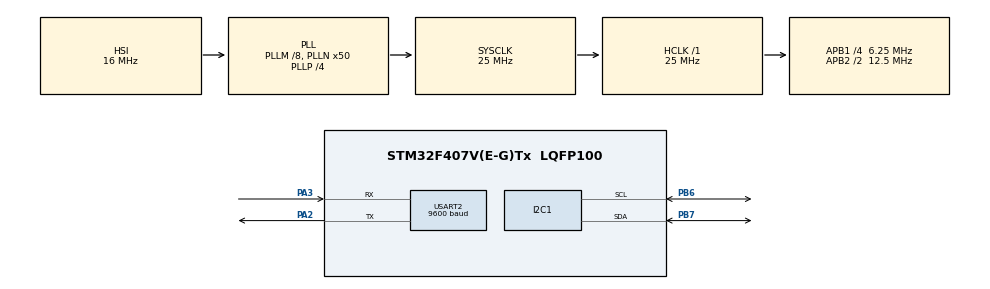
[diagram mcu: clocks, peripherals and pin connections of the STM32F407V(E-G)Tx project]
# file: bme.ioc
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Mcu.Family=STM32F4
Mcu.Name=STM32F407V(E-G)Tx
Mcu.Package=LQFP100
NVIC.PriorityGroup=NVIC_PRIORITYGROUP_0
PA2.Mode=Asynchronous
PA2.Signal=USART2_TX
PA3.Mode=Asynchronous
PA3.Signal=USART2_RX
PB6.Mode=I2C
PB6.Signal=I2C1_SCL
PB7.Mode=I2C
PB7.Signal=I2C1_SDA
ProjectManager.HeapSize=0x200
ProjectManager.StackSize=0x400
ProjectManager.TargetToolchain=STM32CubeIDE
RCC.48MHZClocksFreq_Value=14285714.285714285
RCC.AHBFreq_Value=25000000
RCC.APB1CLKDivider=RCC_HCLK_DIV4
RCC.APB1Freq_Value=6250000
RCC.APB1TimFreq_Value=12500000
RCC.APB2CLKDivider=RCC_HCLK_DIV2
RCC.APB2Freq_Value=12500000
RCC.APB2TimFreq_Value=25000000
RCC.CortexFreq_Value=25000000
RCC.HCLKFreq_Value=25000000
RCC.HSE_VALUE=8000000
RCC.HSI_VALUE=16000000
RCC.LSE_VALUE=32768
RCC.PLLM=8
RCC.PLLN=50
RCC.PLLP=RCC_PLLP_DIV4
RCC.PLLQ=7
RCC.SYSCLKFreq_VALUE=25000000
RCC.SYSCLKSource=RCC_SYSCLKSOURCE_PLLCLK
RCC.VCOOutputFreq_Value=100000000
USART2.BaudRate=9600
USART2.VirtualMode=VM_ASYNC
board=STM32F407G-DISC1

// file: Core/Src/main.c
/* USER CODE BEGIN Header */
/**
  ******************************************************************************
  * @file           : main.c
  * @brief          : Main program body
  ******************************************************************************
  * @attention
  *
  * Copyright (c) 2024 STMicroelectronics.
  * All rights reserved.
  *
  * This software is licensed under terms that can be found in the LICENSE file
  * in the root directory of this software component.
  * If no LICENSE file comes with this software, it is provided AS-IS.
  *
  ******************************************************************************
  */
/* USER CODE END Header */
#include "main.h"
#include<stdio.h>
#include<string.h>

#include "stm32f4xx_hal.h"
#include <stdint.h>
#include <stdbool.h>

/**
 * BMP280 or BME280 address is 0x77 if SDO pin is high, and is 0x76 if
 * SDO pin is low.
 */
#define BMP280_REG_TEMP_XLSB   0xFC /* bits: 7-4 */
#define BMP280_REG_TEMP_LSB    0xFB
#define BMP280_REG_TEMP_MSB    0xFA
#define BMP280_REG_TEMP        (BMP280_REG_TEMP_MSB)
#define BMP280_REG_PRESS_XLSB  0xF9 /* bits: 7-4 */
#define BMP280_REG_PRESS_LSB   0xF8
#define BMP280_REG_PRESS_MSB   0xF7
#define BMP280_REG_PRESSURE    (BMP280_REG_PRESS_MSB)
#define BMP280_REG_CONFIG      0xF5 /* bits: 7-5 t_sb; 4-2 filter; 0 spi3w_en */
#define BMP280_REG_CTRL        0xF4 /* bits: 7-5 osrs_t; 4-2 osrs_p; 1-0 mode */
#define BMP280_REG_STATUS      0xF3 /* bits: 3 measuring; 0 im_update */
#define BMP280_REG_CTRL_HUM    0xF2 /* bits: 2-0 osrs_h; */
#define BMP280_REG_RESET       0xE0
#define BMP280_REG_ID          0xD0
#define BMP280_REG_CALIB       0x88
#define BMP280_REG_HUM_CALIB   0x88

#define BMP280_RESET_VALUE     0xB6
#define BMP280_I2C_ADDRESS_0  0x76
#define BMP280_I2C_ADDRESS_1  0x77

#define BMP280_CHIP_ID  0x58 /* BMP280 has chip-id 0x58 */
#define BME280_CHIP_ID  0x60 /* BME280 has chip-id 0x60 */

/**
 * Mode of BMP280 module operation.
 * Forced - Measurement is initiated by user.
 * Normal - Continues measurement.
 */
I2C_HandleTypeDef hi2c1;

UART_HandleTypeDef huart2;
typedef enum {
    BMP280_MODE_SLEEP = 0,
    BMP280_MODE_FORCED = 1,
    BMP280_MODE_NORMAL = 3
} BMP280_Mode;

typedef enum {
    BMP280_FILTER_OFF = 0,
    BMP280_FILTER_2 = 1,
    BMP280_FILTER_4 = 2,
    BMP280_FILTER_8 = 3,
    BMP280_FILTER_16 = 4
} BMP280_Filter;

/**
 * Pressure oversampling settings
 */
typedef enum {
    BMP280_SKIPPED = 0,          /* no measurement  */
    BMP280_ULTRA_LOW_POWER = 1,  /* oversampling x1 */
    BMP280_LOW_POWER = 2,        /* oversampling x2 */
    BMP280_STANDARD = 3,         /* oversampling x4 */
    BMP280_HIGH_RES = 4,         /* oversampling x8 */
    BMP280_ULTRA_HIGH_RES = 5    /* oversampling x16 */
} BMP280_Oversampling;

/**
 * Stand by time between measurements in normal mode
 */
typedef enum {
    BMP280_STANDBY_05 = 0,      /* stand by time 0.5ms */
    BMP280_STANDBY_62 = 1,      /* stand by time 62.5ms */
    BMP280_STANDBY_125 = 2,     /* stand by time 125ms */
    BMP280_STANDBY_250 = 3,     /* stand by time 250ms */
    BMP280_STANDBY_500 = 4,     /* stand by time 500ms */
    BMP280_STANDBY_1000 = 5,    /* stand by time 1s */
    BMP280_STANDBY_2000 = 6,    /* stand by time 2s BMP280, 10ms BME280 */
    BMP280_STANDBY_4000 = 7,    /* stand by time 4s BMP280, 20ms BME280 */
} BMP280_StandbyTime;

/**
 * Configuration parameters for BMP280 module.
 * Use function bmp280_init_default_params to use default configuration.
 */
typedef struct {
    BMP280_Mode mode;
    BMP280_Filter filter;
    BMP280_Oversampling oversampling_pressure;
    BMP280_Oversampling oversampling_temperature;
    BMP280_Oversampling oversampling_humidity;
    BMP280_StandbyTime standby;
} bmp280_params_t;

typedef struct {
    uint16_t dig_T1;
    int16_t  dig_T2;
    int16_t  dig_T3;
    uint16_t dig_P1;
    int16_t  dig_P2;
    int16_t  dig_P3;
    int16_t  dig_P4;
    int16_t  dig_P5;
    int16_t  dig_P6;
    int16_t  dig_P7;
    int16_t  dig_P8;
    int16_t  dig_P9;

    /* Humidity compensation for BME280 */
    uint8_t  dig_H1;
    int16_t  dig_H2;
    uint8_t  dig_H3;
    int16_t  dig_H4;
    int16_t  dig_H5;
    int8_t   dig_H6;

    uint16_t addr;

    bmp280_params_t params;

    uint8_t  id;        /* Chip ID */

} BMP280_HandleTypedef;

/**
 * Initialize default parameters.
 * Default configuration:
 *      mode: NORAML
 *      filter: OFF
 *      oversampling: x4
 *      standby time: 250ms
 */
void bmp280_init_default_params(bmp280_params_t *params);

/**
 * Initialize BMP280 module, probes for the device, soft resets the device,
 * reads the calibration constants, and configures the device using the supplied
 * parameters. Returns true on success otherwise false.
 *
 * The I2C address is assumed to have been initialized in the dev, and
 * may be either BMP280_I2C_ADDRESS_0 or BMP280_I2C_ADDRESS_1. If the I2C
 * address is unknown then try initializing each in turn.
 *
 * This may be called again to soft reset the device and initialize it again.
 */
bool bmp280_init(BMP280_HandleTypedef *dev, bmp280_params_t *params);

/**
 * Start measurement in forced mode.
 * The module remains in forced mode after this call.
 * Do not call this method in normal mode.
 */
bool bmp280_force_measurement(BMP280_HandleTypedef *dev);

/**
 * Check if BMP280 is busy with measuring temperature/pressure.
 * Return true if BMP280 is busy.
 */
bool bmp280_is_measuring(BMP280_HandleTypedef *dev);

/**
 * Read compensated temperature and pressure data:
 *
 *  Temperature in degrees Celsius times 100.
 *
 *  Pressure in Pascals in fixed point 24 bit integer 8 bit fraction format.
 *
 *  Humidity is optional and only read for the BME280, in percent relative
 *  humidity as a fixed point 22 bit interger and 10 bit fraction format.
 */
bool bmp280_read_fixed(BMP280_HandleTypedef *dev, int32_t *temperature,
                       uint32_t *pressure, uint32_t *humidity);

/**
 * Read compensated temperature and pressure data:
 *  Temperature in degrees Celsius.
 *  Pressure in Pascals.
 *  Humidity is optional and only read for the BME280, in percent relative
 *  humidity.
 */
bool bmp280_read_float(BMP280_HandleTypedef *dev, float *temperature,
                       float *pressure, float *humidity);

/* USER CODE BEGIN PD */

void bmp280_init_default_params(bmp280_params_t *params) {
	params->mode = BMP280_MODE_NORMAL;
	params->filter = BMP280_FILTER_OFF;
	params->oversampling_pressure = BMP280_STANDARD;
	params->oversampling_temperature = BMP280_STANDARD;
	params->oversampling_humidity = BMP280_STANDARD;
	params->standby = BMP280_STANDBY_250;
}

static bool read_register16(BMP280_HandleTypedef *dev, uint8_t addr, uint16_t *value) {
	uint16_t tx_buff;
	uint8_t rx_buff[2];
	tx_buff = (dev->addr << 1);

	if (HAL_I2C_Mem_Read(&hi2c1, tx_buff, addr, 1, rx_buff, 2, 5000)
			== HAL_OK) {
		*value = (uint16_t) ((rx_buff[1] << 8) | rx_buff[0]);
		return true;
	} else
		return false;

}

static inline int read_data(BMP280_HandleTypedef *dev, uint8_t addr, uint8_t *value,
		uint8_t len) {
	uint16_t tx_buff;
	tx_buff = (dev->addr << 1);
	if (HAL_I2C_Mem_Read(&hi2c1, tx_buff, addr, 1, value, len, 5000) == HAL_OK)
		return 0;
	else
		return 1;

}

static bool read_calibration_data(BMP280_HandleTypedef *dev) {

	if (read_register16(dev, 0x88, &dev->dig_T1)
			&& read_register16(dev, 0x8a, (uint16_t *) &dev->dig_T2)
			&& read_register16(dev, 0x8c, (uint16_t *) &dev->dig_T3)
			&& read_register16(dev, 0x8e, &dev->dig_P1)
			&& read_register16(dev, 0x90, (uint16_t *) &dev->dig_P2)
			&& read_register16(dev, 0x92, (uint16_t *) &dev->dig_P3)
			&& read_register16(dev, 0x94, (uint16_t *) &dev->dig_P4)
			&& read_register16(dev, 0x96, (uint16_t *) &dev->dig_P5)
			&& read_register16(dev, 0x98, (uint16_t *) &dev->dig_P6)
			&& read_register16(dev, 0x9a, (uint16_t *) &dev->dig_P7)
			&& read_register16(dev, 0x9c, (uint16_t *) &dev->dig_P8)
			&& read_register16(dev, 0x9e,
					(uint16_t *) &dev->dig_P9)) {

		return true;
	}

	return false;
}

static bool read_hum_calibration_data(BMP280_HandleTypedef *dev) {
	uint16_t h4, h5;

	if (!read_data(dev, 0xa1, &dev->dig_H1, 1)
			&& read_register16(dev, 0xe1, (uint16_t *) &dev->dig_H2)
			&& !read_data(dev, 0xe3, &dev->dig_H3, 1)
			&& read_register16(dev, 0xe4, &h4)
			&& read_register16(dev, 0xe5, &h5)
			&& !read_data(dev, 0xe7, (uint8_t *) &dev->dig_H6, 1)) {
		dev->dig_H4 = (h4 & 0x00ff) << 4 | (h4 & 0x0f00) >> 8;
		dev->dig_H5 = h5 >> 4;

		return true;
	}

	return false;
}

static int write_register8(BMP280_HandleTypedef *dev, uint8_t addr, uint8_t value) {
	uint16_t tx_buff;

	tx_buff = (dev->addr << 1);

	if (HAL_I2C_Mem_Write(&hi2c1, tx_buff, addr, 1, &value, 1, 10000) == HAL_OK)
		return false;
	else
		return true;
}

bool bmp280_init(BMP280_HandleTypedef *dev, bmp280_params_t *params) {

	if (dev->addr != BMP280_I2C_ADDRESS_0
			&& dev->addr != BMP280_I2C_ADDRESS_1) {

		return false;
	}

	if (read_data(dev, BMP280_REG_ID, &dev->id, 1)) {
		return false;
	}

	if (dev->id != BMP280_CHIP_ID && dev->id != BME280_CHIP_ID) {

		return false;
	}

	// Soft reset.
	if (write_register8(dev, BMP280_REG_RESET, BMP280_RESET_VALUE)) {
		return false;
	}

	// Wait until finished copying over the NVP data.
	while (1) {
		uint8_t status;
		if (!read_data(dev, BMP280_REG_STATUS, &status, 1)
				&& (status & 1) == 0)
			break;
	}

	if (!read_calibration_data(dev)) {
		return false;
	}

	if (dev->id == BME280_CHIP_ID && !read_hum_calibration_data(dev)) {
		return false;
	}

	uint8_t config = (params->standby << 5) | (params->filter << 2);
	if (write_register8(dev, BMP280_REG_CONFIG, config)) {
		return false;
	}

	if (params->mode == BMP280_MODE_FORCED) {
		params->mode = BMP280_MODE_SLEEP;  // initial mode for forced is sleep
	}

	uint8_t ctrl = (params->oversampling_temperature << 5)
			| (params->oversampling_pressure << 2) | (params->mode);

	if (dev->id == BME280_CHIP_ID) {
		// Write crtl hum reg first, only active after write to BMP280_REG_CTRL.
		uint8_t ctrl_hum = params->oversampling_humidity;
		if (write_register8(dev, BMP280_REG_CTRL_HUM, ctrl_hum)) {
			return false;
		}
	}

	if (write_register8(dev, BMP280_REG_CTRL, ctrl)) {
		return false;
	}

	return true;
}

bool bmp280_force_measurement(BMP280_HandleTypedef *dev) {
	uint8_t ctrl;
	if (read_data(dev, BMP280_REG_CTRL, &ctrl, 1))
		return false;
	ctrl &= ~0b11;  // clear two lower bits
	ctrl |= BMP280_MODE_FORCED;
	if (write_register8(dev, BMP280_REG_CTRL, ctrl)) {
		return false;
	}
	return true;
}

bool bmp280_is_measuring(BMP280_HandleTypedef *dev) {
	uint8_t status;
	if (read_data(dev, BMP280_REG_STATUS, &status, 1))
		return false;
	if (status & (1 << 3)) {
		return true;
	}
	return false;
}

/**
 * Compensation algorithm is taken from BMP280 datasheet.
 *
 * Return value is in degrees Celsius.
 */
static inline int32_t compensate_temperature(BMP280_HandleTypedef *dev, int32_t adc_temp,
		int32_t *fine_temp) {
	int32_t var1, var2;

	var1 = ((((adc_temp >> 3) - ((int32_t) dev->dig_T1 << 1)))
			* (int32_t) dev->dig_T2) >> 11;
	var2 = (((((adc_temp >> 4) - (int32_t) dev->dig_T1)
			* ((adc_temp >> 4) - (int32_t) dev->dig_T1)) >> 12)
			* (int32_t) dev->dig_T3) >> 14;

	*fine_temp = var1 + var2;
	return (*fine_temp * 5 + 128) >> 8;
}

/**
 * Compensation algorithm is taken from BMP280 datasheet.
 *
 * Return value is in Pa, 24 integer bits and 8 fractional bits.
 */
static inline uint32_t compensate_pressure(BMP280_HandleTypedef *dev, int32_t adc_press,
		int32_t fine_temp) {
	int64_t var1, var2, p;

	var1 = (int64_t) fine_temp - 128000;
	var2 = var1 * var1 * (int64_t) dev->dig_P6;
	var2 = var2 + ((var1 * (int64_t) dev->dig_P5) << 17);
	var2 = var2 + (((int64_t) dev->dig_P4) << 35);
	var1 = ((var1 * var1 * (int64_t) dev->dig_P3) >> 8)
			+ ((var1 * (int64_t) dev->dig_P2) << 12);
	var1 = (((int64_t) 1 << 47) + var1) * ((int64_t) dev->dig_P1) >> 33;

	if (var1 == 0) {
		return 0;  // avoid exception caused by division by zero
	}

	p = 1048576 - adc_press;
	p = (((p << 31) - var2) * 3125) / var1;
	var1 = ((int64_t) dev->dig_P9 * (p >> 13) * (p >> 13)) >> 25;
	var2 = ((int64_t) dev->dig_P8 * p) >> 19;

	p = ((p + var1 + var2) >> 8) + ((int64_t) dev->dig_P7 << 4);
	return p;
}

/**
 * Compensation algorithm is taken from BME280 datasheet.
 *
 * Return value is in Pa, 24 integer bits and 8 fractional bits.
 */
static inline uint32_t compensate_humidity(BMP280_HandleTypedef *dev, int32_t adc_hum,
		int32_t fine_temp) {
	int32_t v_x1_u32r;

	v_x1_u32r = fine_temp - (int32_t) 76800;
	v_x1_u32r = ((((adc_hum << 14) - ((int32_t) dev->dig_H4 << 20)
			- ((int32_t) dev->dig_H5 * v_x1_u32r)) + (int32_t) 16384) >> 15)
			* (((((((v_x1_u32r * (int32_t) dev->dig_H6) >> 10)
					* (((v_x1_u32r * (int32_t) dev->dig_H3) >> 11)
							+ (int32_t) 32768)) >> 10) + (int32_t) 2097152)
					* (int32_t) dev->dig_H2 + 8192) >> 14);
	v_x1_u32r = v_x1_u32r
			- (((((v_x1_u32r >> 15) * (v_x1_u32r >> 15)) >> 7)
					* (int32_t) dev->dig_H1) >> 4);
	v_x1_u32r = v_x1_u32r < 0 ? 0 : v_x1_u32r;
	v_x1_u32r = v_x1_u32r > 419430400 ? 419430400 : v_x1_u32r;
	return v_x1_u32r >> 12;
}

bool bmp280_read_fixed(BMP280_HandleTypedef *dev, int32_t *temperature, uint32_t *pressure,
		uint32_t *humidity) {
	int32_t adc_pressure;
	int32_t adc_temp;
	uint8_t data[8];

	// Only the BME280 supports reading the humidity.
	if (dev->id != BME280_CHIP_ID) {
		if (humidity)
			*humidity = 0;
		humidity = NULL;
	}

	// Need to read in one sequence to ensure they match.
	size_t size = humidity ? 8 : 6;
	if (read_data(dev, 0xf7, data, size)) {
		return false;
	}

	adc_pressure = data[0] << 12 | data[1] << 4 | data[2] >> 4;
	adc_temp = data[3] << 12 | data[4] << 4 | data[5] >> 4;

	int32_t fine_temp;
	*temperature = compensate_temperature(dev, adc_temp, &fine_temp);
	*pressure = compensate_pressure(dev, adc_pressure, fine_temp);

	if (humidity) {
		int32_t adc_humidity = data[6] << 8 | data[7];
		*humidity = compensate_humidity(dev, adc_humidity, fine_temp);
	}

	return true;
}

bool bmp280_read_float(BMP280_HandleTypedef *dev, float *temperature, float *pressure,
		float *humidity) {
	int32_t fixed_temperature;
	uint32_t fixed_pressure;
	uint32_t fixed_humidity;
	if (bmp280_read_fixed(dev, &fixed_temperature, &fixed_pressure,
			humidity ? &fixed_humidity : NULL)) {
		*temperature = (float) fixed_temperature / 100;
		*pressure = (float) fixed_pressure / 256;
		if (humidity)
			*humidity = (float) fixed_humidity / 1024;
		return true;
	}

	return false;
}

/* USER CODE END PD */

/* USER CODE BEGIN PM */
BMP280_HandleTypedef bmp280;

float pressure, temperature, humidity;

uint16_t size;

/* USER CODE END PM */

void SystemClock_Config(void);
static void MX_GPIO_Init(void);
static void MX_USART2_UART_Init(void);
static void MX_I2C1_Init(void);

/* USER CODE BEGIN 0 */
int _write(int file, char *data, int len) {
    HAL_UART_Transmit(&huart2, (uint8_t*)data, len, 100);
    return len;
}
void send_uart(const char *message) {
    HAL_UART_Transmit(&huart2, (uint8_t*)message, strlen(message), HAL_MAX_DELAY);
}
/* USER CODE END 0 */

int main(void)
{
	 HAL_Init();
	    SystemClock_Config();
	    MX_GPIO_Init();
	    MX_USART2_UART_Init();
	    MX_I2C1_Init();

	    bmp280_params_t params;
	    bmp280_init_default_params(&params);

	    BMP280_HandleTypedef bmp280;
	    bmp280.addr = BMP280_I2C_ADDRESS_0;
	    if (!bmp280_init(&bmp280, &params)) {
	        send_uart("BMP280 initialization failed\r\n");
	        while (1);
	    }

	    int32_t temperature;
	    uint32_t pressure, humidity;
	    char buffer[50];

	    while (1) {
	        bmp280_force_measurement(&bmp280);
	        HAL_Delay(100);

	        if (!bmp280_is_measuring(&bmp280)) {
	            if (bmp280_read_fixed(&bmp280, &temperature, &pressure, &humidity)) {
	                snprintf(buffer, sizeof(buffer), "Temperature: %ld.%02ld C\r\n", temperature / 100, temperature % 100);
	                send_uart(buffer);
	                snprintf(buffer, sizeof(buffer), "Pressure: %ld.%02ld Pa\r\n", pressure / 256, (pressure % 256) * 100 / 256);
	                send_uart(buffer);
	                snprintf(buffer, sizeof(buffer), "Humidity: %ld.%02ld %%\r\n", humidity / 1024, (humidity % 1024) * 100 / 1024);
	                send_uart(buffer);
	            } else {
	                send_uart("Failed to read values\r\n");
	            }
	        }
	        HAL_Delay(1000);
	    }

}

void SystemClock_Config(void)
{
  RCC_OscInitTypeDef RCC_OscInitStruct = {0};
  RCC_ClkInitTypeDef RCC_ClkInitStruct = {0};

  /** Configure the main internal regulator output voltage
  */
  __HAL_RCC_PWR_CLK_ENABLE();
  __HAL_PWR_VOLTAGESCALING_CONFIG(PWR_REGULATOR_VOLTAGE_SCALE1);

  /** Initializes the RCC Oscillators according to the specified parameters
  * in the RCC_OscInitTypeDef structure.
  */
  RCC_OscInitStruct.OscillatorType = RCC_OSCILLATORTYPE_HSI;
  RCC_OscInitStruct.HSIState = RCC_HSI_ON;
  RCC_OscInitStruct.HSICalibrationValue = RCC_HSICALIBRATION_DEFAULT;
  RCC_OscInitStruct.PLL.PLLState = RCC_PLL_ON;
  RCC_OscInitStruct.PLL.PLLSource = RCC_PLLSOURCE_HSI;
  RCC_OscInitStruct.PLL.PLLM = 8;
  RCC_OscInitStruct.PLL.PLLN = 50;
  RCC_OscInitStruct.PLL.PLLP = RCC_PLLP_DIV4;
  RCC_OscInitStruct.PLL.PLLQ = 7;
  if (HAL_RCC_OscConfig(&RCC_OscInitStruct) != HAL_OK)
  {
    Error_Handler();
  }

  /** Initializes the CPU, AHB and APB buses clocks
  */
  RCC_ClkInitStruct.ClockType = RCC_CLOCKTYPE_HCLK|RCC_CLOCKTYPE_SYSCLK
                              |RCC_CLOCKTYPE_PCLK1|RCC_CLOCKTYPE_PCLK2;
  RCC_ClkInitStruct.SYSCLKSource = RCC_SYSCLKSOURCE_PLLCLK;
  RCC_ClkInitStruct.AHBCLKDivider = RCC_SYSCLK_DIV1;
  RCC_ClkInitStruct.APB1CLKDivider = RCC_HCLK_DIV4;
  RCC_ClkInitStruct.APB2CLKDivider = RCC_HCLK_DIV2;

  if (HAL_RCC_ClockConfig(&RCC_ClkInitStruct, FLASH_LATENCY_0) != HAL_OK)
  {
    Error_Handler();
  }
}

static void MX_I2C1_Init(void)
{

  hi2c1.Instance = I2C1;
  hi2c1.Init.ClockSpeed = 100000;
  hi2c1.Init.DutyCycle = I2C_DUTYCYCLE_2;
  hi2c1.Init.OwnAddress1 = 0;
  hi2c1.Init.AddressingMode = I2C_ADDRESSINGMODE_7BIT;
  hi2c1.Init.DualAddressMode = I2C_DUALADDRESS_DISABLE;
  hi2c1.Init.OwnAddress2 = 0;
  hi2c1.Init.GeneralCallMode = I2C_GENERALCALL_DISABLE;
  hi2c1.Init.NoStretchMode = I2C_NOSTRETCH_DISABLE;
  if (HAL_I2C_Init(&hi2c1) != HAL_OK)
  {
    Error_Handler();
  }

}

static void MX_USART2_UART_Init(void)
{

  huart2.Instance = USART2;
  huart2.Init.BaudRate = 9600;
  huart2.Init.WordLength = UART_WORDLENGTH_8B;
  huart2.Init.StopBits = UART_STOPBITS_1;
  huart2.Init.Parity = UART_PARITY_NONE;
  huart2.Init.Mode = UART_MODE_TX_RX;
  huart2.Init.HwFlowCtl = UART_HWCONTROL_NONE;
  huart2.Init.OverSampling = UART_OVERSAMPLING_16;
  if (HAL_UART_Init(&huart2) != HAL_OK)
  {
    Error_Handler();
  }

}

static void MX_GPIO_Init(void)
{

  /* GPIO Ports Clock Enable */
  __HAL_RCC_GPIOA_CLK_ENABLE();
  __HAL_RCC_GPIOB_CLK_ENABLE();

}

void Error_Handler(void)
{
  __disable_irq();
  while (1)
  {
  }
}
